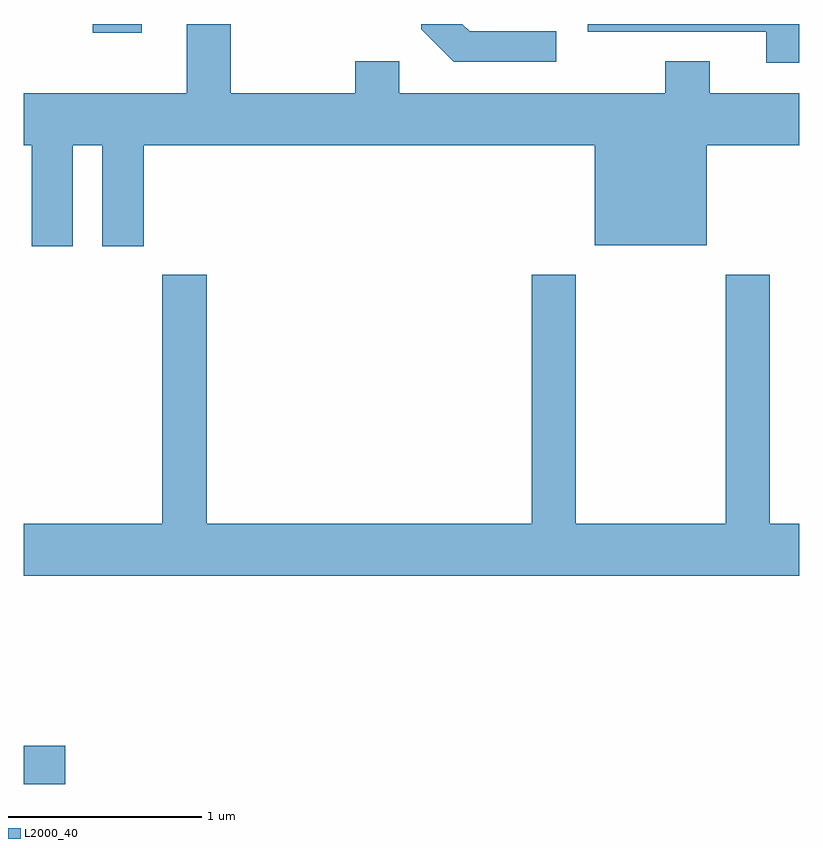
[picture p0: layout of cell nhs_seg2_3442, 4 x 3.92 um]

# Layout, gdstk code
import gdstk
lib = gdstk.Library(unit=1e-6, precision=1e-09)
def R(c, l, rs):  # rectangles x0, y0, x1, y1
    for r in rs: c.add(gdstk.rectangle(r[:2], r[2:], *l))
def P(c, l, *ps):  # polygons
    for p in ps: c.add(gdstk.Polygon(p, *l))
L2000_40 = (2000, 40)

nhs_seg2_3442 = lib.new_cell('nhs_seg2_3442')
R(nhs_seg2_3442, L2000_40, [(285.611,1073.881,285.824,1074.079), (285.966,1077.756,286.219,1077.802)])
P(nhs_seg2_3442, L2000_40, [(288.358,1077.764),(287.912,1077.764),(287.874,1077.802),(287.661,1077.802),(287.661,1077.774),(287.829,1077.606),(288.358,1077.606)],
  [(289.611,1077.802),(288.521,1077.802),(288.521,1077.761),(289.441,1077.761),(289.441,1077.601),(289.611,1077.601)],
  [(288.556,1076.661),(289.134,1076.661),(289.134,1077.176),(289.611,1077.176),(289.611,1077.444),(289.149,1077.444),(289.149,1077.609),(288.921,1077.609),(288.921,1077.444),(287.549,1077.444),(287.549,1077.609),(287.321,1077.609),(287.321,1077.444),(286.679,1077.444),(286.679,1077.802),(286.451,1077.802),(286.451,1077.444),(285.611,1077.444),(285.611,1077.176),(285.651,1077.176),(285.651,1076.656),(285.864,1076.656),(285.864,1077.176),(286.016,1077.176),(286.016,1076.656),(286.229,1076.656),(286.229,1077.176),(288.556,1077.176)],
  [(289.611,1075.224),(289.459,1075.224),(289.459,1076.509),(289.231,1076.509),(289.231,1075.224),(288.459,1075.224),(288.459,1076.509),(288.231,1076.509),(288.231,1075.224),(286.554,1075.224),(286.554,1076.509),(286.326,1076.509),(286.326,1075.224),(285.611,1075.224),(285.611,1074.956),(289.611,1074.956)])

lib.write_gds('nhs_seg2_3442.gds')
